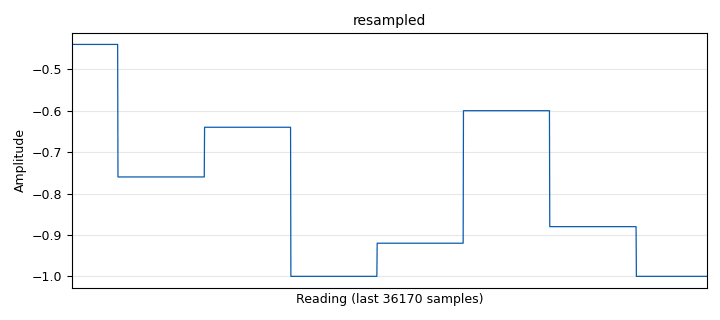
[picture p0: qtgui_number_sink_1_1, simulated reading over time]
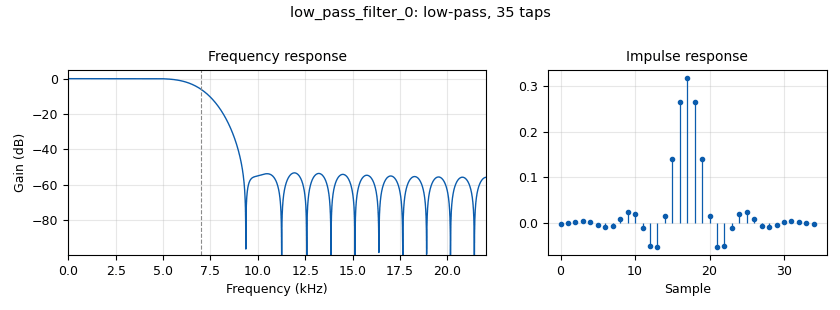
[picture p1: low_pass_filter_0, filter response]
options:
  parameters:
    author: Kyle Logue (K6OF)
    generate_options: qt_gui
    id: scramble_descramble
    output_language: python
    title: Scramble & Descramble
  states: {}

blocks:
- name: agc_probe
  id: variable_function_probe
  parameters:
    block_id: audio_agc_block
    function_name: gain
    poll_rate: '10'
    value: '0'
  states: {}
- name: fc_khz
  id: variable_qtgui_range
  parameters:
    label: Center Frequency (kHz)
    start: '-10'
    step: '.1'
    stop: '10'
    value: '7'
  states: {}
- name: hops_per_second
  id: variable
  parameters:
    comment: Ideally integer divides samp_rate
    value: '9'
  states: {}
- name: peak_volume
  id: variable
  parameters:
    comment: '-8 LUFS'
    value: 10**(-8/10)
  states: {}
- name: samp_rate
  id: variable
  parameters:
    value: '44100'
  states: {}
- name: second_fc_khz
  id: variable
  parameters:
    comment: |-
      center freq
      for the second signal
    value: '-8'
  states: {}
- name: secret
  id: variable
  parameters:
    comment: Secret should be ascii from 0x61 (a) to 0x7a (z).
    value: b'thequickbrownfoxjumpsoverthelazydogjackdawslovemybigsphinxofquartz'
  states: {}
- name: sweep_bw_khz
  id: variable
  parameters:
    comment: secret modulating bandwidth
    value: '6'
  states: {}
- name: variable_qtgui_label_0
  id: variable_qtgui_label
  parameters:
    formatter: 'lambda x: f''{x:.3f}'''
    label: Audio AGC Level
    type: int
    value: agc_probe
  states: {}
- name: analog_frequency_modulator_fc_1
  id: analog_frequency_modulator_fc
  parameters:
    comment: f_dev = fmax-fmin
    sensitivity: (2*3.1415926535*sweep_bw_khz*1e3)/samp_rate
  states: {}
- name: analog_frequency_modulator_fc_1_0
  id: analog_frequency_modulator_fc
  parameters:
    comment: f_dev = fmax-fmin
    sensitivity: '-(2*3.1415926535*sweep_bw_khz*1e3)/samp_rate'
  states: {}
- name: analog_frequency_modulator_fc_1_1
  id: analog_frequency_modulator_fc
  parameters:
    comment: f_dev = fmax-fmin
    sensitivity: (2*3.1415926535*sweep_bw_khz*1e3)/samp_rate
  states: {}
- name: analog_sig_source_x_1_1
  id: analog_sig_source_x
  parameters:
    amp: '1'
    comment: fmin
    freq: (fc_khz+sweep_bw_khz/2)*1e3
    offset: '0'
    phase: '0'
    samp_rate: samp_rate
    type: complex
    waveform: analog.GR_COS_WAVE
  states: {}
- name: analog_sig_source_x_1_1_0
  id: analog_sig_source_x
  parameters:
    amp: '1'
    freq: '-(fc_khz+sweep_bw_khz/2)*1e3'
    offset: '0'
    phase: '0'
    samp_rate: samp_rate
    type: complex
    waveform: analog.GR_COS_WAVE
  states: {}
- name: analog_sig_source_x_1_1_1
  id: analog_sig_source_x
  parameters:
    amp: '1'
    comment: fmin
    freq: (second_fc_khz+sweep_bw_khz/2)*1e3
    offset: '0'
    phase: '0'
    samp_rate: samp_rate
    type: complex
    waveform: analog.GR_COS_WAVE
  states: {}
- name: audio_agc_block
  id: analog_agc2_xx
  parameters:
    attack_rate: '1e-3'
    decay_rate: '1e-3'
    gain: '1.0'
    max_gain: '65536'
    reference: peak_volume
    type: float
  states: {}
- name: audio_sink_0
  id: audio_sink
  parameters:
    samp_rate: samp_rate
  states: {}
- name: audio_sink_0_0
  id: audio_sink
  parameters:
    samp_rate: samp_rate
  states: {state: disabled}
- name: blocks_add_xx_0
  id: blocks_add_xx
  parameters:
    type: complex
  states: {}
- name: blocks_complex_to_float_0
  id: blocks_complex_to_float
  parameters: {}
  states: {}
- name: blocks_complex_to_mag_squared_0
  id: blocks_complex_to_mag_squared
  parameters: {}
  states: {}
- name: blocks_float_to_complex_0
  id: blocks_float_to_complex
  parameters: {}
  states: {}
- name: blocks_float_to_complex_0_0
  id: blocks_float_to_complex
  parameters: {}
  states: {}
- name: blocks_moving_average_xx_0
  id: blocks_moving_average_xx
  parameters:
    length: '10000'
    max_iter: '4000'
    scale: '1e-4'
    type: float
  states: {}
- name: blocks_multiply_xx_0_0_0
  id: blocks_multiply_xx
  parameters:
    type: complex
  states: {}
- name: blocks_multiply_xx_0_0_0_0
  id: blocks_multiply_xx
  parameters:
    type: complex
  states: {}
- name: blocks_multiply_xx_0_0_0_1
  id: blocks_multiply_xx
  parameters:
    type: complex
  states: {}
- name: blocks_multiply_xx_0_2
  id: blocks_multiply_xx
  parameters:
    type: complex
  states: {}
- name: blocks_multiply_xx_0_2_0
  id: blocks_multiply_xx
  parameters:
    type: complex
  states: {}
- name: blocks_multiply_xx_0_2_1
  id: blocks_multiply_xx
  parameters:
    type: complex
  states: {}
- name: blocks_null_sink_0
  id: blocks_null_sink
  parameters:
    type: complex
  states: {}
- name: blocks_null_sink_0_0
  id: blocks_null_sink
  parameters:
    type: float
  states: {}
- name: blocks_repeat_0
  id: blocks_repeat
  parameters:
    comment: use this for hard freq shifts
    interp: int(samp_rate/hops_per_second)
    type: float
  states: {}
- name: blocks_sigmf_sink_minimal_0
  id: blocks_sigmf_sink_minimal
  parameters:
    author: Kyle Logue (K6OF)
    center_freq: np.nan
    filename: scrambled
    sample_rate: samp_rate
    type: complex float (fc32_le)
  states: {state: disabled}
- name: blocks_vector_source_x_0
  id: blocks_vector_source_x
  parameters:
    comment: Scale secret amplitude from (0, 1).
    repeat: 'True'
    type: float
    vector: ((np.frombuffer(secret, dtype=np.uint8) -0x61) / (0x7a-0x61))-1
  states: {}
- name: blocks_wavfile_source_0
  id: blocks_wavfile_source
  parameters:
    file: audio_vox.wav
    repeat: 'False'
  states: {}
- name: blocks_wavfile_source_0_0
  id: blocks_wavfile_source
  parameters:
    file: audio_voice.wav
    repeat: 'False'
  states: {}
- name: import_0
  id: import
  parameters:
    imports: import numpy as np
  states: {}
- name: import_0_0
  id: import
  parameters:
    imports: import random
  states: {}
- name: low_pass_filter_0
  id: low_pass_filter
  parameters:
    cutoff_freq: 7e3
    decim: '1'
    gain: '1'
    samp_rate: samp_rate
    type: fir_filter_ccf
    width: 3e3
    win: window.WIN_HAMMING
  states: {}
- name: note_0
  id: note
  parameters:
    comment: Scramble Amplitude Generator ==============================================================================================================================
    note: section
  states: {}
- name: note_0_0
  id: note
  parameters:
    comment: Encoder ==============================================================================================================================================================
    note: section
  states: {}
- name: note_0_0_0
  id: note
  parameters:
    comment: Check Modulated Output Characteristics ==============================================================================================================================================================
    note: section
  states: {}
- name: note_0_0_0_0
  id: note
  parameters:
    comment: Decoder ==============================================================================================================================================================
    note: section
  states: {}
- name: qtgui_number_sink_1
  id: qtgui_number_sink
  parameters:
    comment: check for unit power out
    graph_type: qtgui.NUM_GRAPH_NONE
    name: power
    type: float
  states: {}
- name: qtgui_number_sink_1_1
  id: qtgui_number_sink
  parameters:
    comment: check for unit power out
    graph_type: qtgui.NUM_GRAPH_NONE
    name: resampled
    type: float
  states: {}
- name: qtgui_time_sink_x_0
  id: qtgui_time_sink_x
  parameters:
    size: '1024'
    srate: samp_rate
    type: complex
    update_time: '.05'
  states: {}
- name: qtgui_waterfall_sink_x_1_1
  id: qtgui_waterfall_sink_x
  parameters:
    bw: samp_rate
    fc: '0'
    fftsize: 1024*4
    freqhalf: 'False'
    type: complex
    update_time: '.05'
  states: {}
- name: rational_resampler_xxx_0
  id: rational_resampler_xxx
  parameters:
    comment: use this for soft freq shifts
    decim: '1'
    fbw: '.3'
    interp: int(samp_rate/hops_per_second)
    type: fff
  states: {state: disabled}
- name: virtual_sink_0
  id: virtual_sink
  parameters:
    stream_id: secret_amplitude
  states: {}
- name: virtual_sink_1
  id: virtual_sink
  parameters:
    stream_id: scrambled
  states: {}
- name: virtual_sink_2
  id: virtual_sink
  parameters:
    stream_id: am_demod
  states: {state: disabled}
- name: virtual_sink_2_0
  id: virtual_sink
  parameters:
    stream_id: am_demod
  states: {}
- name: virtual_source_0
  id: virtual_source
  parameters:
    stream_id: secret_amplitude
  states: {}
- name: virtual_source_0_0
  id: virtual_source
  parameters:
    stream_id: secret_amplitude
  states: {}
- name: virtual_source_0_1
  id: virtual_source
  parameters:
    stream_id: secret_amplitude
  states: {}
- name: virtual_source_1
  id: virtual_source
  parameters:
    stream_id: scrambled
  states: {}
- name: virtual_source_1_0
  id: virtual_source
  parameters:
    stream_id: scrambled
  states: {}
- name: virtual_source_2
  id: virtual_source
  parameters:
    stream_id: am_demod
  states: {}

connections:
- [analog_frequency_modulator_fc_1, '0', blocks_multiply_xx_0_2, '0']
- [analog_frequency_modulator_fc_1_0, '0', blocks_multiply_xx_0_2_0, '0']
- [analog_frequency_modulator_fc_1_1, '0', blocks_multiply_xx_0_2_1, '0']
- [analog_sig_source_x_1_1, '0', blocks_multiply_xx_0_0_0, '1']
- [analog_sig_source_x_1_1_0, '0', blocks_multiply_xx_0_0_0_0, '1']
- [analog_sig_source_x_1_1_1, '0', blocks_multiply_xx_0_0_0_1, '1']
- [audio_agc_block, '0', audio_sink_0, '0']
- [audio_agc_block, '0', blocks_null_sink_0_0, '0']
- [blocks_add_xx_0, '0', blocks_sigmf_sink_minimal_0, '0']
- [blocks_add_xx_0, '0', virtual_sink_1, '0']
- [blocks_complex_to_float_0, '0', audio_agc_block, '0']
- [blocks_complex_to_mag_squared_0, '0', blocks_moving_average_xx_0, '0']
- [blocks_float_to_complex_0, '0', blocks_multiply_xx_0_2, '1']
- [blocks_float_to_complex_0_0, '0', blocks_multiply_xx_0_2_1, '1']
- [blocks_moving_average_xx_0, '0', qtgui_number_sink_1, '0']
- [blocks_multiply_xx_0_0_0, '0', blocks_add_xx_0, '0']
- [blocks_multiply_xx_0_0_0_0, '0', blocks_multiply_xx_0_2_0, '1']
- [blocks_multiply_xx_0_0_0_1, '0', blocks_add_xx_0, '1']
- [blocks_multiply_xx_0_2, '0', blocks_multiply_xx_0_0_0, '0']
- [blocks_multiply_xx_0_2_0, '0', blocks_null_sink_0, '0']
- [blocks_multiply_xx_0_2_0, '0', virtual_sink_2, '0']
- [blocks_multiply_xx_0_2_1, '0', blocks_multiply_xx_0_0_0_1, '0']
- [blocks_repeat_0, '0', qtgui_number_sink_1_1, '0']
- [blocks_repeat_0, '0', virtual_sink_0, '0']
- [blocks_vector_source_x_0, '0', blocks_repeat_0, '0']
- [blocks_vector_source_x_0, '0', rational_resampler_xxx_0, '0']
- [blocks_wavfile_source_0, '0', audio_sink_0_0, '0']
- [blocks_wavfile_source_0, '0', blocks_float_to_complex_0, '0']
- [blocks_wavfile_source_0_0, '0', blocks_float_to_complex_0_0, '0']
- [low_pass_filter_0, '0', blocks_complex_to_float_0, '0']
- [rational_resampler_xxx_0, '0', qtgui_number_sink_1_1, '0']
- [rational_resampler_xxx_0, '0', virtual_sink_0, '0']
- [virtual_source_0, '0', analog_frequency_modulator_fc_1, '0']
- [virtual_source_0_0, '0', analog_frequency_modulator_fc_1_0, '0']
- [virtual_source_0_1, '0', analog_frequency_modulator_fc_1_1, '0']
- [virtual_source_1, '0', blocks_complex_to_mag_squared_0, '0']
- [virtual_source_1, '0', qtgui_time_sink_x_0, '0']
- [virtual_source_1, '0', qtgui_waterfall_sink_x_1_1, '0']
- [virtual_source_1, '0', virtual_sink_2_0, '0']
- [virtual_source_1_0, '0', blocks_multiply_xx_0_0_0_0, '0']
- [virtual_source_2, '0', low_pass_filter_0, '0']

metadata:
  file_format: 1
